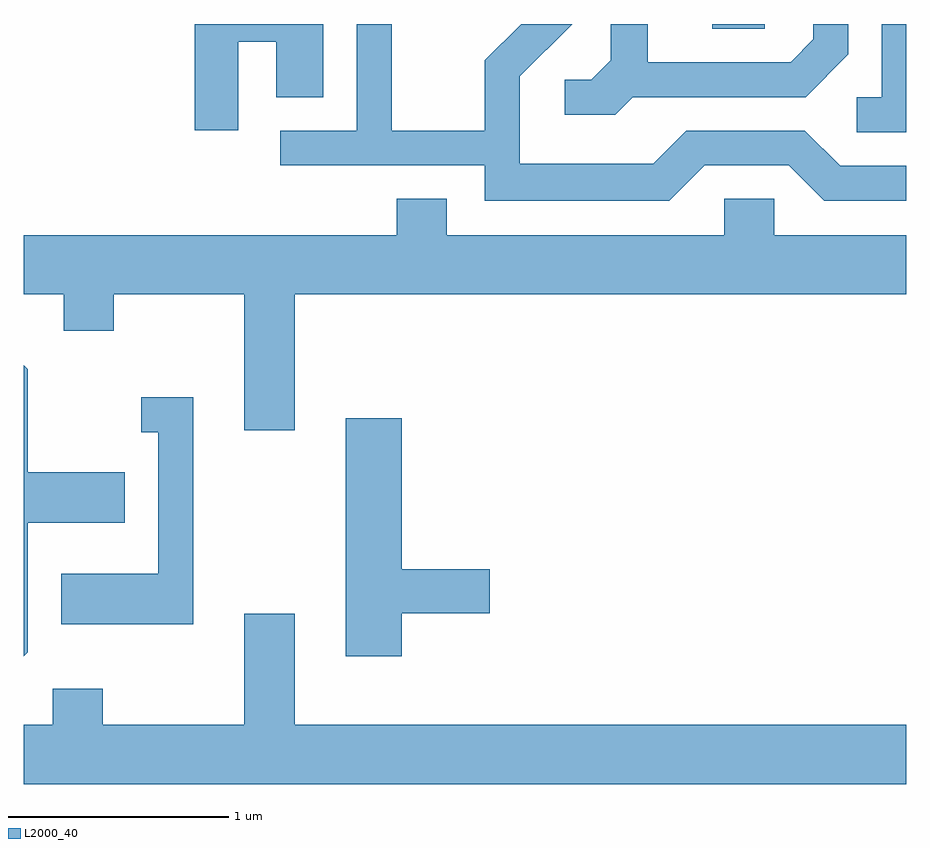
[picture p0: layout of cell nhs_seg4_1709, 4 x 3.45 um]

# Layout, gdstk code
import gdstk
lib = gdstk.Library(unit=1e-6, precision=1e-09)
def R(c, l, rs):  # rectangles x0, y0, x1, y1
    for r in rs: c.add(gdstk.rectangle(r[:2], r[2:], *l))
def P(c, l, *ps):  # polygons
    for p in ps: c.add(gdstk.Polygon(p, *l))
L2000_40 = (2000, 40)

nhs_seg4_1709 = lib.new_cell('nhs_seg4_1709')
R(nhs_seg4_1709, L2000_40, [(238.731,1275.961,238.969,1275.982)])
P(nhs_seg4_1709, L2000_40, [(236.584,1275.901),(236.756,1275.901),(236.756,1275.651),(236.969,1275.651),(236.969,1275.982),(236.386,1275.982),(236.386,1275.501),(236.584,1275.501)],
  [(238.697,1275.341),(239.079,1275.341),(239.239,1275.181),(239.611,1275.181),(239.611,1275.339),(239.312,1275.339),(239.152,1275.499),(238.614,1275.499),(238.464,1275.349),(237.859,1275.349),(237.859,1275.744),(238.097,1275.982),(237.866,1275.982),(237.701,1275.817),(237.701,1275.499),(237.279,1275.499),(237.279,1275.982),(237.121,1275.982),(237.121,1275.499),(236.773,1275.499),(236.773,1275.341),(237.701,1275.341),(237.701,1275.181),(238.537,1275.181)],
  [(239.611,1275.982),(239.501,1275.982),(239.501,1275.649),(239.388,1275.649),(239.388,1275.491),(239.611,1275.491)],
  [(238.372,1275.651),(239.157,1275.651),(239.349,1275.844),(239.349,1275.982),(239.191,1275.982),(239.191,1275.912),(239.089,1275.809),(238.439,1275.809),(238.439,1275.982),(238.271,1275.982),(238.271,1275.817),(238.184,1275.729),(238.063,1275.729),(238.063,1275.571),(238.292,1275.571)],
  [(236.839,1274.756),(239.611,1274.756),(239.611,1275.024),(239.014,1275.024),(239.014,1275.189),(238.786,1275.189),(238.786,1275.024),(237.529,1275.024),(237.529,1275.189),(237.301,1275.189),(237.301,1275.024),(235.611,1275.024),(235.611,1274.756),(235.791,1274.756),(235.791,1274.591),(236.019,1274.591),(236.019,1274.756),(236.611,1274.756),(236.611,1274.141),(236.839,1274.141)],
  [(235.629,1273.134),(235.629,1273.721),(236.069,1273.721),(236.069,1273.949),(235.629,1273.949),(235.629,1274.417),(235.611,1274.435),(235.611,1273.116)],
  [(236.379,1274.289),(236.143,1274.289),(236.143,1274.131),(236.221,1274.131),(236.221,1273.489),(235.781,1273.489),(235.781,1273.261),(236.379,1273.261)],
  [(237.324,1273.311),(237.724,1273.311),(237.724,1273.509),(237.324,1273.509),(237.324,1274.194),(237.071,1274.194),(237.071,1273.116),(237.324,1273.116)],
  [(239.611,1272.804),(236.839,1272.804),(236.839,1273.309),(236.611,1273.309),(236.611,1272.804),(235.969,1272.804),(235.969,1272.969),(235.741,1272.969),(235.741,1272.804),(235.611,1272.804),(235.611,1272.536),(239.611,1272.536)])

lib.write_gds('nhs_seg4_1709.gds')
